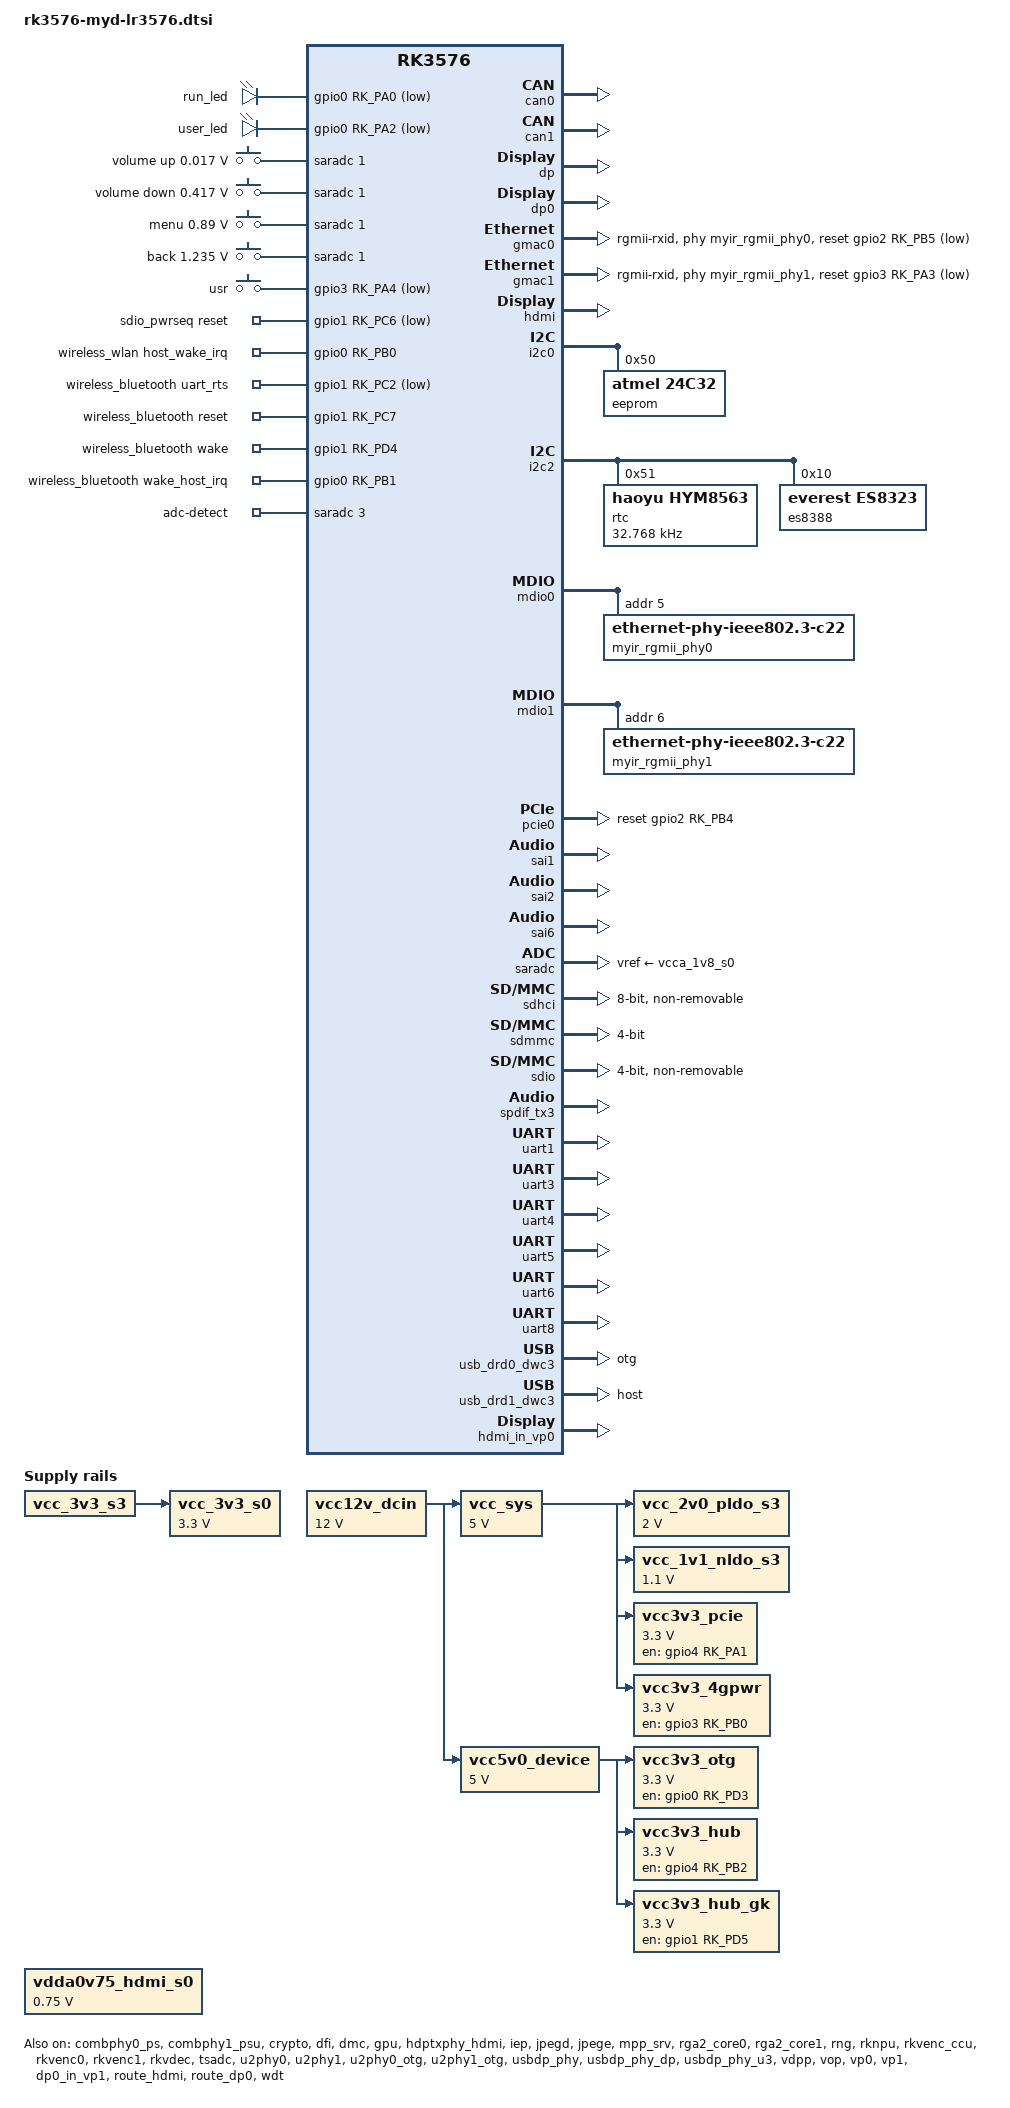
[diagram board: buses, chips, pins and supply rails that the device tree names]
// SPDX-License-Identifier: (GPL-2.0+ OR MIT)
/*
 * Copyright (c) 2024 MYIR Electronics Co., Ltd.
 *
 */

#include <dt-bindings/usb/pd.h>
#include <dt-bindings/gpio/gpio.h>
#include <dt-bindings/pwm/pwm.h>
#include <dt-bindings/pinctrl/rockchip.h>
#include <dt-bindings/input/rk-input.h>
#include <dt-bindings/display/drm_mipi_dsi.h>
#include <dt-bindings/display/rockchip_vop.h>
#include <dt-bindings/sensor-dev.h>
#include "rk3576-rk806.dtsi"
#include "myd-lr3576-mipi-101c.dtsi"
#include "myd-lr3576-camera-n4-x3.dtsi"

/ {
	aliases {
		mmc0 = &sdhci;
		mmc1 = &sdmmc;
		mmc2 = &sdio;
	};

	chosen: chosen {
		/* bootargs set by boot script - do not hardcode root device here */
	};

	fiq_debugger: fiq-debugger {
		compatible = "rockchip,fiq-debugger";
		rockchip,serial-id = <0>;
		rockchip,wake-irq = <0>;
		/* If enable uart uses irq instead of fiq */
		rockchip,irq-mode-enable = <1>;
		rockchip,baudrate = <115200>;  /* Only 115200 and 1500000 */
		interrupts = <GIC_SPI 389 IRQ_TYPE_LEVEL_LOW>;
		pinctrl-names = "default";
		pinctrl-0 = <&uart0m0_xfer>;
		status = "okay";
	};

	firmware {
		optee: optee {
			compatible = "linaro,optee-tz";
			method = "smc";
		};
	};

	reserved-memory {
		#address-cells = <2>;
		#size-cells = <2>;
		ranges;

		drm_logo: drm-logo@0 {
			compatible = "rockchip,drm-logo";
			reg = <0x0 0x0 0x0 0x0>;
		};

		drm_cubic_lut: drm-cubic-lut@0 {
			compatible = "rockchip,drm-cubic-lut";
			reg = <0x0 0x0 0x0 0x0>;
		};

		ramoops: ramoops@40110000 {
			compatible = "ramoops";
			/* 0x40110000 to 0x401f0000 is for ramoops */
			reg = <0x0 0x40110000 0x0 0xe0000>;
			boot-log-size = <0x8000>;	/* do not change */
			boot-log-count = <0x1>;		/* do not change */
			console-size = <0x80000>;
			pmsg-size = <0x30000>;
			ftrace-size = <0x00000>;
			record-size = <0x14000>;
		};
	};

	pdmics: dummy-codec {
		status = "disabled";
		compatible = "rockchip,dummy-codec";
		#sound-dai-cells = <0>;
	};

	pdm_mic_array: pdm-mic-array {
		status = "disabled";
		compatible = "simple-audio-card";
		simple-audio-card,name = "rockchip,pdm-mic-array";
		simple-audio-card,cpu {
			sound-dai = <&pdm1>;
		};
		simple-audio-card,codec {
			sound-dai = <&pdmics>;
		};
	};

	test-power {
		status = "okay";
	};

	vcc12v_dcin: vcc12v-dcin {
		compatible = "regulator-fixed";
		regulator-name = "vcc12v_dcin";
		regulator-always-on;
		regulator-boot-on;
		regulator-min-microvolt = <12000000>;
		regulator-max-microvolt = <12000000>;
	};

	vcc_sys: vcc5v0-sys {
		compatible = "regulator-fixed";
		regulator-name = "vcc_sys";
		regulator-always-on;
		regulator-boot-on;
		regulator-min-microvolt = <5000000>;
		regulator-max-microvolt = <5000000>;
		vin-supply = <&vcc12v_dcin>;
	};

	vcc5v0_device: vcc5v0-device {
		compatible = "regulator-fixed";
		regulator-name = "vcc5v0_device";
		regulator-always-on;
		regulator-boot-on;
		regulator-min-microvolt = <5000000>;
		regulator-max-microvolt = <5000000>;
		vin-supply = <&vcc12v_dcin>;
	};

	vcc_2v0_pldo_s3: vcc-2v0-pldo-s3 {
		compatible = "regulator-fixed";
		regulator-name = "vcc_2v0_pldo_s3";
		regulator-boot-on;
		regulator-always-on;
		regulator-min-microvolt = <2000000>;
		regulator-max-microvolt = <2000000>;
		vin-supply = <&vcc_sys>;
	};

	vcc_1v1_nldo_s3: vcc-1v1-nldo-s3 {
		compatible = "regulator-fixed";
		regulator-name = "vcc_1v1_nldo_s3";
		regulator-boot-on;
		regulator-always-on;
		regulator-min-microvolt = <1100000>;
		regulator-max-microvolt = <1100000>;
		vin-supply = <&vcc_sys>;
	};

	vcc_3v3_s0: vcc-3v3-s0 {
		compatible = "regulator-fixed";
		regulator-name = "vcc_3v3_s0";
		regulator-boot-on;
		regulator-always-on;
		regulator-min-microvolt = <3300000>;
		regulator-max-microvolt = <3300000>;
		vin-supply = <&vcc_3v3_s3>;
	};

	vcc3v3_otg: vcc3v3-otg {
		compatible = "regulator-fixed";
		regulator-name = "vcc3v3_otg";
		regulator-boot-on;
		regulator-always-on;
		regulator-min-microvolt = <3300000>;
		regulator-max-microvolt = <3300000>;
		enable-active-high;
		gpio = <&gpio0 RK_PD3 GPIO_ACTIVE_HIGH>;
		vin-supply = <&vcc5v0_device>;
		pinctrl-names = "default";
		pinctrl-0 = <&usb_otg0_pwren>;
	};

	vcc3v3_hub: vcc3v3-hub {
		compatible = "regulator-fixed";
		regulator-name = "vcc3v3_hub";
		regulator-boot-on;
		regulator-always-on;
		regulator-min-microvolt = <3300000>;
		regulator-max-microvolt = <3300000>;
		enable-active-high;
		gpio = <&gpio4 RK_PB2 GPIO_ACTIVE_HIGH>;
		vin-supply = <&vcc5v0_device>;
		pinctrl-names = "default";
		pinctrl-0 = <&usb_host_pwren>;
	};

	vcc3v3_hub_gk: vcc3v3-hub-gk {
		compatible = "regulator-fixed";
		regulator-name = "vcc3v3_hub_gk";
		regulator-boot-on;
		regulator-always-on;
		regulator-min-microvolt = <3300000>;
		regulator-max-microvolt = <3300000>;
		enable-active-high;
		gpio = <&gpio1 RK_PD5 GPIO_ACTIVE_HIGH>;
		vin-supply = <&vcc5v0_device>;
		pinctrl-names = "default";
		pinctrl-0 = <&usb_hub_gk_rst>;
	};

	vcc3v3_pcie: vcc3v3-pcie {
		compatible = "regulator-fixed";
		regulator-name = "vcc3v3_pcie";
		regulator-boot-on;
		regulator-always-on;
		regulator-min-microvolt = <3300000>;
		regulator-max-microvolt = <3300000>;
		enable-active-high;
		gpio = <&gpio4 RK_PA1 GPIO_ACTIVE_HIGH>;
		vin-supply = <&vcc_sys>;
	};

	vcc3v3_4gpwr: vcc3v3-4gpwr {
		compatible = "regulator-fixed";
		regulator-name = "vcc3v3_4gpwr";
		regulator-boot-on;
		regulator-always-on;
		regulator-min-microvolt = <3300000>;
		regulator-max-microvolt = <3300000>;
		enable-active-high;
		gpio = <&gpio3 RK_PB0 GPIO_ACTIVE_HIGH>;
		vin-supply = <&vcc_sys>;
	};

	leds: leds {
		compatible = "gpio-leds";
		run_led: run {
			gpios = <&gpio0 RK_PA0 GPIO_ACTIVE_LOW>;
			linux,default-trigger = "heartbeat";
		};

		user_led: user {
			gpios = <&gpio0 RK_PA2 GPIO_ACTIVE_LOW>;
			linux,default-trigger = "heartbeat";
		};
	};

	adc_keys: adc-keys {
		compatible = "adc-keys";
		io-channels = <&saradc 1>;
		io-channel-names = "buttons";
		keyup-threshold-microvolt = <1800000>;
		poll-interval = <100>;

		vol-up-key {
			label = "volume up";
			linux,code = <KEY_VOLUMEUP>;
			press-threshold-microvolt = <17000>;
		};

		vol-down-key {
			label = "volume down";
			linux,code = <KEY_VOLUMEDOWN>;
			press-threshold-microvolt = <417000>;
		};

		menu-key {
			label = "menu";
			linux,code = <KEY_MENU>;
			press-threshold-microvolt = <890000>;
		};

		back-key {
			label = "back";
			linux,code = <KEY_BACK>;
			press-threshold-microvolt = <1235000>;
		};
	};

	gpio_keys: gpio-keys {
		status = "okay";
		compatible = "gpio-keys";
		autorepeat;
		usr {
			label = "usr";
			linux,code = <KEY_HOME>;
			gpios = <&gpio3 RK_PA4 GPIO_ACTIVE_LOW>;
		};
	};

	sdio_pwrseq: sdio-pwrseq {
		compatible = "mmc-pwrseq-simple";
		pinctrl-names = "default";
		pinctrl-0 = <&wifi_poweren_gpio>;

		/*
		 * On the module itself this is one of these (depending
		 * on the actual card populated):
		 * - SDIO_RESET_L_WL_REG_ON
		 * - PDN (power down when low)
		 */
		post-power-on-delay-ms = <200>;
		reset-gpios = <&gpio1 RK_PC6 GPIO_ACTIVE_LOW>;
		status = "okay";
	};

	wireless_wlan: wireless-wlan {
		compatible = "wlan-platdata";
		wifi_chip_type = "ap6256";
		pinctrl-names = "default";
		pinctrl-0 = <&wifi_host_wake_irq>;
		WIFI,host_wake_irq = <&gpio0 RK_PB0 GPIO_ACTIVE_HIGH>;
		// WIFI,poweren_gpio = <&gpio1 RK_PC6 GPIO_ACTIVE_HIGH>;
		status = "okay";
	};

	wireless_bluetooth: wireless-bluetooth {
		compatible = "bluetooth-platdata";
		uart_rts_gpios = <&gpio1 RK_PC2 GPIO_ACTIVE_LOW>;
		pinctrl-names = "default", "rts_gpio";
		pinctrl-0 = <&uart4m1_rtsn>;
		pinctrl-1 = <&uart4_gpios>;
		BT,reset_gpio    = <&gpio1 RK_PC7 GPIO_ACTIVE_HIGH>;
		BT,wake_gpio     = <&gpio1 RK_PD4 GPIO_ACTIVE_HIGH>;
		BT,wake_host_irq = <&gpio0 RK_PB1 GPIO_ACTIVE_HIGH>;
		status = "okay";
	};

	es8388_sound: es8388-sound {
		status = "okay";
		compatible = "rockchip,multicodecs-card";
		rockchip,card-name = "rockchip-es8388";
		io-channels = <&saradc 3>;
		io-channel-names = "adc-detect";
		keyup-threshold-microvolt = <1800000>;
		poll-interval = <100>;
		rockchip,pre-power-on-delay-ms = <30>;
		rockchip,post-power-down-delay-ms = <40>;
		rockchip,format = "i2s";
		rockchip,mclk-fs = <256>;
		rockchip,cpu = <&sai1>;
		rockchip,codec = <&es8388>;
		rockchip,audio-routing =
			"Headphone", "LOUT1",
			"Headphone", "ROUT1",
			"Speaker", "LOUT2",
			"Speaker", "ROUT2",
			"Headphone", "Headphone Power",
			"Headphone", "Headphone Power",
			"Speaker", "Speaker Power",
			"Speaker", "Speaker Power",
			"LINPUT1", "Main Mic",
			"LINPUT2", "Main Mic",
			"RINPUT1", "Headset Mic",
			"RINPUT2", "Headset Mic";
		play-pause-key {
			label = "playpause";
			linux,code = <KEY_PLAYPAUSE>;
			press-threshold-microvolt = <2000>;
		};
	};

	dp0_sound: dp0-sound {
		status = "disabled";
		compatible = "rockchip,hdmi";
		rockchip,mclk-fs = <512>;
		rockchip,card-name = "rockchip-dp0";
		rockchip,cpu = <&spdif_tx3>;
		rockchip,codec = <&dp0 1>;
		rockchip,jack-det;
	};

	dp1_sound: dp1-sound {
		status = "disabled";
		compatible = "rockchip,hdmi";
		rockchip,mclk-fs = <512>;
		rockchip,card-name = "rockchip-dp1";
		rockchip,cpu = <&spdif_tx3>;
		rockchip,codec = <&dp1 1>;
		rockchip,jack-det;
	};

	dp2_sound: dp2-sound {
		status = "disabled";
		compatible = "rockchip,hdmi";
		rockchip,mclk-fs = <512>;
		rockchip,card-name = "rockchip-dp2";
		rockchip,cpu = <&spdif_tx3>;
		rockchip,codec = <&dp2 1>;
		rockchip,jack-det;
	};

	edp_sound: edp-sound {
		status = "disabled";
		compatible = "rockchip,hdmi";
		rockchip,mclk-fs = <128>;
		rockchip,card-name = "rockchip-edp";
		rockchip,cpu = <&sai6>;
		rockchip,codec = <&edp 0>;
	};

	hdmi_sound: hdmi-sound {
		status = "okay";
		compatible = "rockchip,hdmi";
		rockchip,mclk-fs = <128>;
		rockchip,card-name = "rockchip-hdmi";
		rockchip,cpu = <&sai6>;
		rockchip,codec = <&hdmi>;
		rockchip,jack-det;
	};

	bt_sco: bt-sco {
		status = "okay";
		compatible = "delta,dfbmcs320";
		#sound-dai-cells = <1>;
	};

	bt_sound: bt-sound {
		status = "okay";
		compatible = "simple-audio-card";
		simple-audio-card,format = "dsp_a";
		simple-audio-card,bitclock-inversion;
		simple-audio-card,mclk-fs = <256>;
		simple-audio-card,name = "rockchip,bt";
		simple-audio-card,cpu {
			sound-dai = <&sai2>;
		};
		simple-audio-card,codec {
			sound-dai = <&bt_sco 1>;
		};
	};
};

&can0 {
	assigned-clocks = <&cru CLK_CAN0>;
	assigned-clock-rates = <200000000>;
	pinctrl-names = "default";
	pinctrl-0 = <&can0m2_pins>;
	status = "okay";
};

&can1 {
	assigned-clocks = <&cru CLK_CAN1>;
	assigned-clock-rates = <200000000>;
	pinctrl-names = "default";
	pinctrl-0 = <&can1m2_pins>;
	status = "okay";
};

&combphy0_ps {
	status = "okay";
};

&combphy1_psu {
	status = "okay";
};

&cpu_l0 {
	cpu-supply = <&vdd_cpu_lit_s0>;
};

&cpu_b0 {
	cpu-supply = <&vdd_cpu_big_s0>;
};

&crypto {
	status = "okay";
};

&dfi {
	status = "okay";
};

&display_subsystem {
	clocks = <&hdptxphy_hdmi>;
	clock-names = "hdmi0_phy_pll";
	memory-region = <&drm_logo>, <&drm_cubic_lut>;
	memory-region-names = "drm-logo", "drm-cubic-lut";
	/* devfreq = <&dmc>; */
};

&dmc {
	status = "okay";
	center-supply = <&vdd_ddr_s0>;
	mem-supply = <&vdd_logic_s0>;
};

&dp {
	pinctrl-0 = <&dpm1_pins>;
	pinctrl-names = "default";
	status = "okay";
};

&dp0 {
	status = "okay";
};

&dp0_sound {
	status = "okay";
};

&gmac0 {
	/* Use rgmii-rxid mode to disable rx delay inside Soc */
	phy-mode = "rgmii-rxid";
	clock_in_out = "output";

	snps,reset-gpio = <&gpio2 RK_PB5 GPIO_ACTIVE_LOW>;
	snps,reset-active-low;
	/* Reset time is 20ms, 100ms for rtl8211f */
	snps,reset-delays-us = <0 20000 100000>;

	pinctrl-names = "default";
	pinctrl-0 = <&eth0m0_miim
		     &eth0m0_tx_bus2
		     &eth0m0_rx_bus2
		     &eth0m0_rgmii_clk
		     &eth0m0_rgmii_bus>;

	tx_delay = <0x21>;
	/* rx_delay = <0x3f>; */

	phy-handle = <&myir_rgmii_phy0>;
	status = "okay";
};

&gmac1 {
	/* Use rgmii-rxid mode to disable rx delay inside Soc */
	phy-mode = "rgmii-rxid";
	clock_in_out = "output";

	snps,reset-gpio = <&gpio3 RK_PA3 GPIO_ACTIVE_LOW>;
	snps,reset-active-low;
	/* Reset time is 20ms, 100ms for rtl8211f */
	snps,reset-delays-us = <0 20000 100000>;

	pinctrl-names = "default";
	pinctrl-0 = <&eth1m0_miim
		     &eth1m0_tx_bus2
		     &eth1m0_rx_bus2
		     &eth1m0_rgmii_clk
		     &eth1m0_rgmii_bus>;

	tx_delay = <0x20>;
	/* rx_delay = <0x3f>; */

	phy-handle = <&myir_rgmii_phy1>;
	status = "okay";
};

&gpu {
	mali-supply = <&vdd_gpu_s0>;
	status = "okay";
};

&hdmi {
	status = "okay";
	pinctrl-names = "default";
	pinctrl-0 = <&hdmi_txm0_pins &hdmi_tx_scl &hdmi_tx_sda>;
	rockchip,sda-falling-delay-ns = <360>;
};

&hdptxphy_hdmi {
	status = "okay";
};

&i2c0 {
	pinctrl-0 = <&i2c0m1_xfer>;
	status = "okay";

	eeprom: eeprom@50 {
		compatible = "atmel,24c32";
		reg = <0x50>;
	};
};

&vdda0v75_hdmi_s0 {
        regulator-always-on;
        regulator-boot-on;
        regulator-min-microvolt = <750000>;
        regulator-max-microvolt = <750000>;
        regulator-name = "vdda0v75_hdmi_s0";
        regulator-state-mem {
        	regulator-off-in-suspend;
	};
};

&i2c2 {
	status = "okay";

	rtc: hym8563@51 {
		compatible = "haoyu,hym8563";
		reg = <0x51>;
		#clock-cells = <0>;
		clock-frequency = <32768>;
		clock-output-names = "hym8563";
	};

	es8388: es8388@10 {
		status = "okay";
		#sound-dai-cells = <0>;
		compatible = "everest,es8323";
		reg = <0x10>;
		clocks = <&mclkout_sai1>;
		clock-names = "mclk";
		assigned-clocks = <&mclkout_sai1>;
		assigned-clock-rates = <12288000>;
		pinctrl-names = "default";
		pinctrl-0 = <&sai1m0_mclk>;
	};
};

&iep {
	status = "okay";
};

&iep_mmu {
	status = "okay";
};

&jpegd {
	status = "okay";
};

&jpege {
	status = "okay";
};

&jpeg_mmu {
	status = "okay";
};

&mpp_srv {
	status = "okay";
};

&mdio0 {
	myir_rgmii_phy0: phy@5 {
		compatible = "ethernet-phy-ieee802.3-c22";
		reg = <0x5>;
		clocks = <&cru REFCLKO25M_GMAC0_OUT>;
	};
};

&mdio1 {
	myir_rgmii_phy1: phy@6 {
		compatible = "ethernet-phy-ieee802.3-c22";
		reg = <0x6>;
		clocks = <&cru REFCLKO25M_GMAC1_OUT>;
	};
};

&pcie0 {
	reset-gpios = <&gpio2 RK_PB4 GPIO_ACTIVE_HIGH>;
	rockchip,skip-scan-in-resume;
	status = "okay";
};

&pdm1 {
	status = "disabled";
	pinctrl-names = "default";
	pinctrl-0 = <&pdm1m1_clk0
		     &pdm1m1_clk1
		     &pdm1m1_sdi0
		     &pdm1m1_sdi1
		     &pdm1m1_sdi2
		     &pdm1m1_sdi3>;
};

&pinctrl {
	usb {
		usb_otg0_pwren: usb-otg0-pwren {
			rockchip,pins = <0 RK_PD3 RK_FUNC_GPIO &pcfg_pull_none>;
		};

		usb_host_pwren: usb-host-pwren {
			rockchip,pins = <4 RK_PB2 RK_FUNC_GPIO &pcfg_pull_none>;
		};
		usb_hub_gk_rst: usb-hub-gk-rst {
			rockchip,pins = <1 RK_PD5 RK_FUNC_GPIO &pcfg_pull_none>;
		};
	};

	wireless-bluetooth {
		uart4_gpios: uart4-gpios {
			rockchip,pins = <1 RK_PC2 RK_FUNC_GPIO &pcfg_pull_none>;
		};
	};

	wireless-wlan {
		wifi_host_wake_irq: wifi-host-wake-irq {
			rockchip,pins = <0 RK_PB0 RK_FUNC_GPIO &pcfg_pull_down>;
		};

		wifi_poweren_gpio: wifi-poweren-gpio {
			rockchip,pins = <1 RK_PC6 RK_FUNC_GPIO &pcfg_pull_up>;
		};
	};
};

&rga2_core0 {
	status = "okay";
};

&rga2_core0_mmu {
	status = "okay";
};

&rga2_core1 {
	status = "okay";
};

&rga2_core1_mmu {
	status = "okay";
};

&rng {
	status = "okay";
};

&rknpu {
	rknpu-supply = <&vdd_npu_s0>;
	status = "okay";
};

&rknpu_mmu {
	status = "okay";
};

&rkvenc_ccu {
	status = "okay";
};

&rkvenc0 {
	status = "okay";
};

&rkvenc0_mmu {
	status = "okay";
};

&rkvenc1 {
	status = "okay";
};

&rkvenc1_mmu {
	status = "okay";

};

&rkvdec {
	status = "okay";
};

&rkvdec_mmu {
	status = "okay";
};

&rockchip_suspend {
	status = "okay";
	rockchip,sleep-debug-en = <1>;

	rockchip,sleep-io-ret-config = <
		(0
		| RKPM_VCCIO3_RET_EN
		)
	>;

	rockchip,regulator-on-before-mem = <&vdd_npu_s0>;
};

&sai1 {
	status = "okay";
	pinctrl-names = "default";
	pinctrl-0 = <&sai1m0_lrck
		     &sai1m0_sclk
		     &sai1m0_sdi0
		     &sai1m0_sdo0>;
};

&sai2 {
        status = "okay";
};

&sai6 {
	status = "okay";
};

&saradc {
	status = "okay";
	vref-supply = <&vcca_1v8_s0>;
};

&sdhci {
	bus-width = <8>;
	no-sdio;
	no-sd;
	non-removable;
	max-frequency = <200000000>;
	mmc-hs400-1_8v;
	mmc-hs400-enhanced-strobe;
	full-pwr-cycle-in-suspend;
	status = "okay";
};

&sdmmc {
	max-frequency = <200000000>;
	no-sdio;
	no-mmc;
	bus-width = <4>;
	cap-mmc-highspeed;
	cap-sd-highspeed;
	disable-wp;
	sd-uhs-sdr104;
	vqmmc-supply = <&vccio_sd_s0>;
	status = "okay";
};

&sdio {
	max-frequency = <200000000>;
	no-sd;
	no-mmc;
	bus-width = <4>;
	disable-wp;
	cap-sd-highspeed;
	cap-sdio-irq;
	keep-power-in-suspend;
	mmc-pwrseq = <&sdio_pwrseq>;
	non-removable;
	pinctrl-names = "default";
	pinctrl-0 = <&sdmmc1m0_bus4 &sdmmc1m0_clk &sdmmc1m0_cmd>;
	sd-uhs-sdr104;
	status = "okay";
};

&spdif_tx3 {
	status = "okay";
};

&tsadc {
	status = "okay";
};

&u2phy0 {
	status = "okay";
};

&u2phy1 {
	status = "okay";
};

&u2phy0_otg {
	phy-supply = <&vcc3v3_otg>;
	status = "okay";
};

&u2phy1_otg {
	phy-supply = <&vcc3v3_hub>;
	status = "okay";
};

&uart1 {
	status = "okay";
	/delete-property/ dmas;
	pinctrl-names = "default";
	pinctrl-0 = <&uart1m1_xfer>;
	force-serial8250-em485-supported;
        rs485-de-gpios = <&gpio2 RK_PB3 GPIO_ACTIVE_HIGH>;
        rs485-rts-delay = <1 1>;
        rs485-rts-active-low;
        linux,rs485-enabled-at-boot-time;
};

&uart3 {
	status = "okay";
	/delete-property/ dmas;
	pinctrl-names = "default";
	pinctrl-0 = <&uart3m0_xfer>;
};

&uart4 {
	status = "okay";
	/delete-property/ dmas;
	pinctrl-names = "default";
	pinctrl-0 = <&uart4m1_xfer &uart4m1_ctsn>;
};

&uart5 {
	status = "okay";
	/delete-property/ dmas;
	pinctrl-names = "default";
	pinctrl-0 = <&uart5m1_xfer>;
};

&uart6 {
	status = "okay";
	/delete-property/ dmas;
	pinctrl-names = "default";
	pinctrl-0 = <&uart6m3_xfer>;
};

&uart8 {
	status = "okay";
	/delete-property/ dmas;
	pinctrl-names = "default";
	pinctrl-0 = <&uart8m1_xfer>;
	force-serial8250-em485-supported;
        rs485-de-gpios = <&gpio4 RK_PC7 GPIO_ACTIVE_HIGH>;
        rs485-rts-delay = <1 1>;
        rs485-rts-active-low;
        linux,rs485-enabled-at-boot-time;
};

&ufs {
	status = "disabled";
};

&usbdp_phy {
	rockchip,dp-lane-mux = <2 3>;
	status = "okay";
};

&usbdp_phy_dp {
	status = "okay";
};

&usbdp_phy_u3 {
	status = "okay";
};

&usb_drd0_dwc3 {
	dr_mode = "otg";
	extcon = <&u2phy0>;
	status = "okay";
};

&usb_drd1_dwc3 {
	dr_mode = "host";
	status = "okay";
};

&vdpp {
	status = "okay";
};

&vop {
	status = "okay";
	vop-supply = <&vdd_logic_s0>;
};

&vop_mmu {
	status = "okay";
};

/* VP0 -> HDMI, VP1 -> DP */
&vp0 {
	status = "okay";
};

&vp1 {
	status = "okay";
	assigned-clocks = <&cru DCLK_VP1_SRC>;
	assigned-clock-parents = <&cru PLL_VPLL>;
};

&hdmi_in_vp0 {
	status = "okay";
};

&hdmi_in_vp1 {
	status = "disabled";
};

&dp0_in_vp1 {
	status = "okay";
};

&route_hdmi {
	status = "okay";
	connect = <&vp0_out_hdmi>;
};

&route_dp0 {
	status = "okay";
	connect = <&vp1_out_dp0>;
};

&vp2 {
	assigned-clocks = <&cru DCLK_VP2_SRC>;
	assigned-clock-parents = <&cru PLL_GPLL>;
};

&wdt {
	status= "okay";
};
